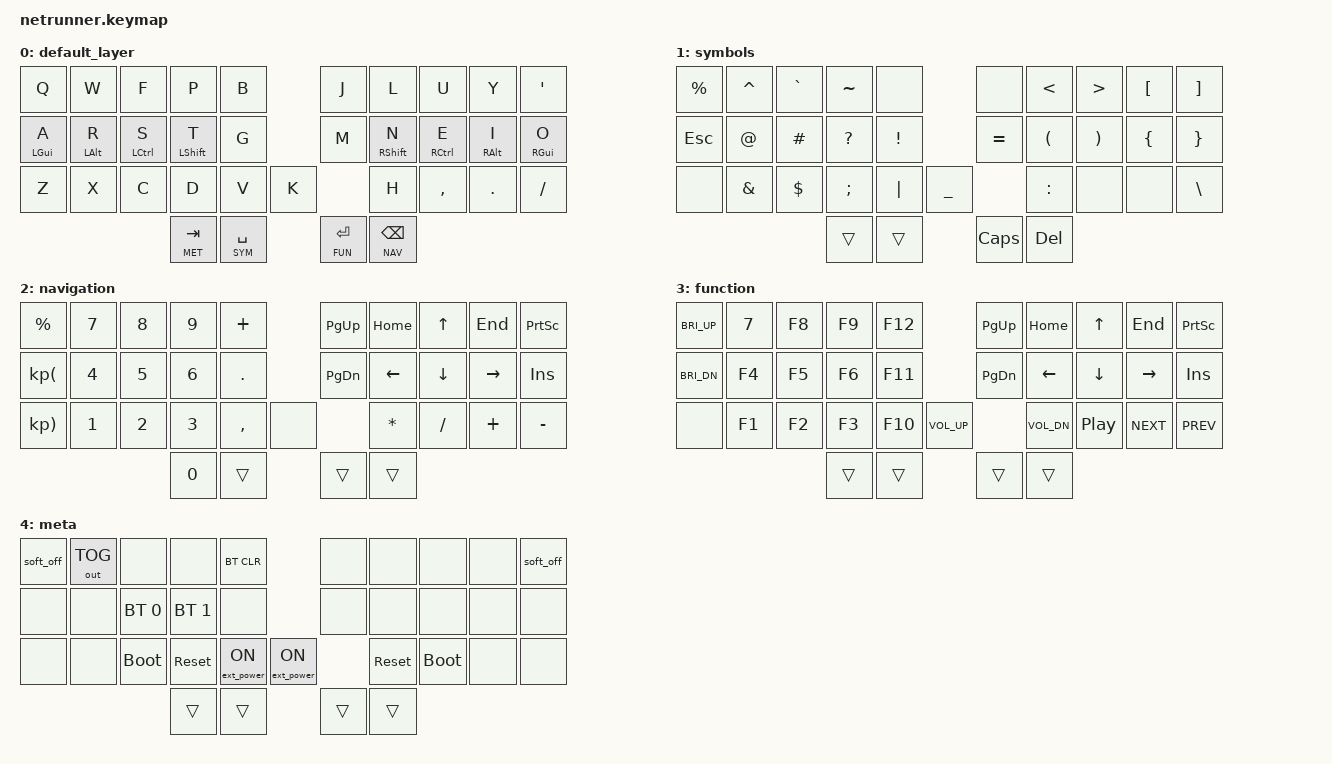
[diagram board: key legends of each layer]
#include <behaviors.dtsi>
#include <dt-bindings/zmk/keys.h>
#include <dt-bindings/zmk/bt.h>
#include <dt-bindings/zmk/ext_power.h>
#include <dt-bindings/zmk/outputs.h>

#define DEF 0
#define SYM 1
#define NAV 2
#define FUN 3
#define MET 4

&lt {
  tapping-term-ms = <150>;
  quick_tap_ms = <150>;
};

/ {

  behaviors {
    hm: homerow_mods {
      compatible = "zmk,behavior-hold-tap";
      label = "HOMEROW_MODS";
      #binding-cells = <2>;
      tapping-term-ms = <170>;
      quick_tap_ms = <170>;
      flavor = "tap-preferred";
      bindings = <&kp>, <&kp>;
    };
  };

  keymap {
    compatible = "zmk,keymap";

    default_layer {
      bindings = <
 &kp Q          &kp W       &kp F        &kp P        &kp B              &kp J        &kp L         &kp U       &kp Y      &kp APOS
 &hm LGUI A     &hm LALT R  &hm LCTRL S  &hm LSHIFT T &kp G              &kp M        &hm RSHIFT N  &hm RCTRL E &hm RALT I &hm RGUI O
 &kp Z          &kp X       &kp C        &kp D        &kp V              &kp K        &kp H         &kp COMMA   &kp DOT    &kp FSLH
                                       &lt MET TAB  &lt SYM SPACE        &lt FUN RET  &lt NAV BSPC   
      >;
    };

    symbols {
      bindings = <
 &kp PRCNT  &kp CARET   &kp GRAVE  &kp TILDE  &none           &none      &kp LT        &kp GT       &kp LBKT  &kp RBKT
 &kp ESC    &kp AT     &kp HASH    &kp QMARK  &kp EXCL        &kp EQUAL  &kp LPAR      &kp RPAR     &kp LBRC  &kp RBRC
 &none      &kp AMPS    &kp DLLR   &kp SEMI   &kp PIPE        &kp UNDER  &kp COLN      &none        &none     &kp BSLH
                                   &trans     &trans          &kp CAPS   &kp DEL      
      >;
    };

    navigation {
      bindings = <
 &kp PRCNT   &kp N7 &kp N8 &kp N9  &kp PLUS        &kp PG_UP  &kp HOME      &kp UP       &kp END    &kp PSCRN
 &kp KP_LPAR &kp N4 &kp N5 &kp N6  &kp DOT         &kp PG_DN  &kp LEFT      &kp DOWN     &kp RIGHT  &kp INS
 &kp KP_RPAR &kp N1 &kp N2 &kp N3  &kp COMMA       &none      &kp ASTRK     &kp FSLH     &kp PLUS   &kp MINUS  
                           &kp N0  &trans          &trans     &trans
      >;
    };

    function {
      bindings = <
 &kp C_BRI_UP &kp N7 &kp F8 &kp F9  &kp F12    &kp PG_UP         &kp HOME      &kp UP     &kp END    &kp PSCRN
 &kp C_BRI_DN &kp F4 &kp F5 &kp F6  &kp F11    &kp PG_DN         &kp LEFT      &kp DOWN   &kp RIGHT  &kp INS
 &none        &kp F1 &kp F2 &kp F3  &kp F10    &kp C_VOL_UP      &kp C_VOL_DN  &kp C_PP   &kp C_NEXT &kp C_PREV
                                    &trans     &trans            &trans        &trans
      >;
    };

    meta {
      bindings = <
 &soft_off    &out OUT_TOG &none        &none         &bt BT_CLR             &none            &none       &none        &none  &soft_off
 &none        &none        &bt BT_SEL 0 &bt BT_SEL 1  &none                  &none            &none       &none        &none  &none
 &none        &none        &bootloader  &sys_reset    &ext_power EP_ON       &ext_power EP_ON &sys_reset  &bootloader  &none  &none
                                        &trans        &trans                 &trans  &trans
      >;
    };


  };
};
